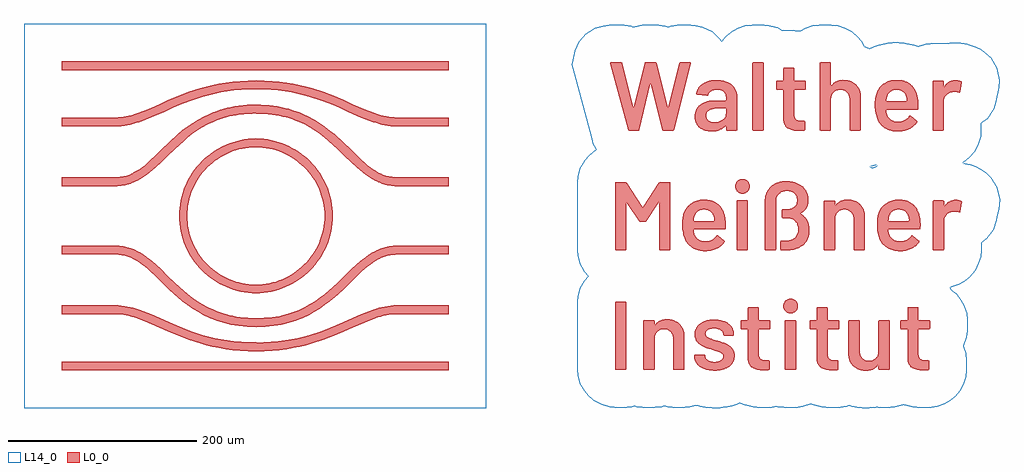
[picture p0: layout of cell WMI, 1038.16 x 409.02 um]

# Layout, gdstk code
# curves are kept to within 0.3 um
import gdstk
lib = gdstk.Library(unit=1e-6, precision=1e-09)
def R(c, l, rs):  # rectangles x0, y0, x1, y1
    for r in rs: c.add(gdstk.rectangle(r[:2], r[2:], *l))
def P(c, l, *ps):  # polygons
    for p in ps: c.add(gdstk.Polygon(p, *l))
L0_0 = (0, 0)
L14_0 = (14, 0)

wmi = lib.new_cell('WMI')
R(wmi, L0_0, [(-455.126,-155.787,-43.506,-146.447), (-455.126,163.614,-43.506,172.954)])
P(wmi, L0_0, [(-248.146,-135.447),(-265.006,-134.827),(-280.486,-133.107),(-294.666,-130.467),(-307.686,-127.107),(-319.646,-123.227),(-330.706,-119.027),(-362.926,-104.887),(-374.786,-100.307),(-386.366,-97.167),(-397.966,-96.007),(-455.106,-96.007),(-455.106,-86.667),(-397.966,-86.667),(-385.046,-87.887),(-372.466,-91.207),(-359.826,-96.067),(-327.006,-110.467),(-304.846,-118.267),(-292.446,-121.447),(-278.966,-123.927),(-264.246,-125.547),(-248.146,-126.127),(-232.026,-125.547),(-217.326,-123.927),(-203.846,-121.447),(-191.446,-118.267),(-169.286,-110.467),(-136.466,-96.067),(-123.826,-91.207),(-111.246,-87.887),(-98.326,-86.667),(-43.506,-86.667),(-43.506,-96.007),(-98.346,-96.007),(-109.946,-97.167),(-121.526,-100.307),(-133.366,-104.887),(-165.606,-119.027),(-176.646,-123.227),(-188.626,-127.107),(-201.646,-130.467),(-215.826,-133.107),(-231.286,-134.827)],
  [(-248.146,-109.647),(-257.626,-109.347),(-266.566,-108.467),(-282.846,-105.147),(-297.266,-100.087),(-310.006,-93.627),(-321.326,-86.187),(-331.466,-78.107),(-366.406,-45.467),(-375.146,-39.227),(-381.226,-36.047),(-389.266,-33.387),(-396.166,-32.467),(-455.106,-32.447),(-455.106,-23.127),(-395.806,-23.167),(-387.606,-24.187),(-379.986,-26.467),(-371.146,-30.767),(-361.246,-37.647),(-354.926,-43.027),(-325.466,-70.947),(-315.906,-78.587),(-305.346,-85.567),(-293.546,-91.527),(-280.226,-96.187),(-265.186,-99.207),(-248.146,-100.307),(-231.106,-99.227),(-216.046,-96.207),(-202.746,-91.547),(-190.946,-85.587),(-180.386,-78.607),(-170.826,-70.967),(-141.366,-43.047),(-135.046,-37.667),(-125.146,-30.787),(-116.306,-26.467),(-108.686,-24.207),(-100.486,-23.187),(-43.506,-23.147),(-43.506,-32.487),(-100.146,-32.527),(-107.046,-33.427),(-113.506,-35.427),(-121.146,-39.267),(-129.906,-45.507),(-164.826,-78.127),(-174.966,-86.187),(-186.286,-93.627),(-199.046,-100.087),(-213.446,-105.147),(-229.726,-108.467),(-238.646,-109.347)],
  [(-248.406,-73.767),(-256.726,-73.287),(-264.806,-71.967),(-272.626,-69.887),(-280.126,-67.067),(-287.266,-63.567),(-294.006,-59.407),(-300.306,-54.647),(-306.106,-49.327),(-311.406,-43.467),(-316.126,-37.127),(-320.226,-30.367),(-323.686,-23.187),(-326.426,-15.667),(-328.466,-7.847),(-329.706,0.254),(-330.126,8.594),(-329.706,16.914),(-328.466,24.994),(-326.446,32.834),(-323.686,40.354),(-320.226,47.514),(-316.126,54.274),(-311.426,60.614),(-303.306,69.194),(-294.046,76.554),(-285.626,81.594),(-248.486,81.594),(-255.906,81.214),(-266.646,79.274),(-273.486,77.114),(-283.186,72.714),(-289.206,69.034),(-297.486,62.514),(-302.466,57.534),(-308.986,49.254),(-312.666,43.234),(-317.066,33.534),(-320.026,23.174),(-321.146,15.954),(-321.526,8.514),(-320.686,-2.547),(-318.226,-13.107),(-315.746,-19.807),(-310.886,-29.247),(-306.926,-35.087),(-300.026,-43.047),(-294.826,-47.767),(-289.186,-52.007),(-280.026,-57.287),(-270.086,-61.247),(-263.106,-63.047),(-255.886,-64.167),(-244.726,-64.447),(-237.406,-63.707),(-226.826,-61.247),(-220.126,-58.767),(-210.686,-53.907),(-204.866,-49.947),(-196.906,-43.047),(-189.986,-35.087),(-184.266,-26.187),(-179.866,-16.487),(-176.886,-6.127),(-175.766,1.094),(-175.486,12.254),(-176.886,23.174),(-179.846,33.534),(-182.646,40.074),(-186.026,46.294),(-189.986,52.114),(-194.466,57.534),(-199.426,62.514),(-204.846,66.994),(-210.686,70.934),(-216.886,74.334),(-223.426,77.114),(-230.286,79.274),(-241.026,81.214),(-248.446,81.594),(-285.626,81.594),(-276.466,85.714),(-268.806,88.174),(-256.786,90.434),(-248.466,90.934),(-240.106,90.434),(-232.026,89.134),(-224.206,87.054),(-216.706,84.234),(-209.566,80.734),(-202.826,76.574),(-196.546,71.794),(-190.726,66.474),(-185.446,60.614),(-180.726,54.294),(-176.626,47.514),(-173.166,40.354),(-170.406,32.834),(-168.386,25.014),(-167.146,16.914),(-166.726,8.574),(-167.146,0.254),(-168.386,-7.847),(-170.406,-15.667),(-173.166,-23.187),(-176.626,-30.347),(-180.726,-37.107),(-185.426,-43.447),(-190.706,-49.307),(-196.526,-54.627),(-202.806,-59.387),(-209.546,-63.547),(-216.686,-67.067),(-224.166,-69.887),(-231.986,-71.967),(-240.066,-73.267)],
  [(-455.106,40.294),(-455.106,49.634),(-396.166,49.674),(-389.266,50.574),(-381.226,53.234),(-375.166,56.414),(-366.406,62.654),(-331.466,95.294),(-321.326,103.374),(-310.006,110.814),(-297.266,117.274),(-282.846,122.334),(-266.566,125.654),(-252.966,126.774),(-238.666,126.494),(-229.746,125.614),(-221.346,124.194),(-206.026,119.954),(-192.466,114.154),(-180.466,107.154),(-169.766,99.334),(-155.666,86.894),(-135.626,67.554),(-127.026,60.374),(-118.146,54.674),(-111.926,51.934),(-105.346,50.194),(-100.146,49.614),(-43.506,49.574),(-43.506,40.294),(-100.506,40.334),(-106.706,40.974),(-114.466,42.954),(-121.706,46.034),(-131.826,52.334),(-141.386,60.194),(-162.046,80.094),(-175.506,92.014),(-185.526,99.354),(-196.686,105.854),(-209.206,111.214),(-223.366,115.094),(-239.366,117.194),(-252.606,117.434),(-265.186,116.434),(-280.226,113.394),(-293.546,108.734),(-305.346,102.774),(-315.906,95.814),(-325.466,88.154),(-354.926,60.214),(-361.246,54.834),(-371.146,47.934),(-379.986,43.634),(-387.606,41.354),(-395.806,40.334)],
  [(-455.106,103.814),(-455.106,113.154),(-397.966,113.154),(-386.366,114.334),(-374.786,117.474),(-362.946,122.054),(-330.706,136.174),(-307.686,144.274),(-294.666,147.634),(-280.486,150.274),(-256.766,152.454),(-239.526,152.454),(-223.366,151.254),(-208.566,149.054),(-194.986,146.034),(-176.646,140.394),(-165.586,136.174),(-133.346,122.054),(-121.506,117.474),(-109.926,114.334),(-98.326,113.174),(-43.506,113.174),(-43.506,103.814),(-98.346,103.814),(-108.086,104.534),(-114.426,105.714),(-123.826,108.374),(-136.486,113.214),(-169.306,127.634),(-179.986,131.714),(-197.526,137.094),(-210.446,139.954),(-224.526,142.014),(-239.906,143.134),(-256.386,143.134),(-278.966,141.094),(-292.446,138.614),(-304.846,135.414),(-316.306,131.714),(-327.006,127.634),(-359.826,113.234),(-372.486,108.374),(-385.046,105.054),(-391.446,104.134),(-397.966,103.814)],
  [(352.474,99.314),(351.594,99.694),(351.214,100.574),(351.214,170.574),(352.214,171.794),(362.254,171.794),(363.234,170.594),(363.454,147.274),(366.374,150.034),(370.334,152.194),(374.754,153.094),(380.274,152.874),(384.674,151.614),(388.614,149.314),(391.794,145.934),(393.594,142.694),(394.694,139.174),(395.074,135.474),(395.014,100.314),(393.794,99.314),(384.254,99.314),(383.114,100.074),(382.714,135.174),(380.994,138.934),(378.814,141.074),(375.194,142.594),(372.174,142.714),(369.274,142.054),(366.714,140.514),(364.734,138.134),(363.554,135.274),(363.154,100.094),(361.994,99.314)],
  [(280.914,99.314),(280.034,99.694),(279.674,100.574),(279.674,170.594),(280.654,171.794),(290.694,171.794),(291.694,170.574),(291.674,100.314),(290.694,99.334)],
  [(148.714,99.274),(147.594,100.114),(128.554,170.894),(128.834,171.594),(140.094,171.814),(141.214,171.014),(153.414,123.254),(165.074,171.014),(166.114,171.814),(177.214,171.574),(177.734,170.794),(190.094,123.114),(202.094,170.994),(203.214,171.794),(213.934,171.614),(214.234,170.454),(195.974,99.694),(195.114,99.274),(184.974,99.274),(183.854,100.094),(171.254,150.094),(159.374,100.114),(158.094,99.274)],
  [(327.454,99.054),(322.734,99.594),(318.234,101.154),(315.754,102.954),(313.734,106.014),(312.634,110.254),(312.654,142.234),(306.014,142.534),(305.054,143.534),(305.054,151.034),(305.414,151.894),(312.694,152.534),(312.734,164.874),(313.714,166.094),(322.974,166.114),(323.994,165.574),(324.334,152.374),(335.574,152.214),(336.534,151.254),(336.574,143.774),(335.994,142.714),(324.634,142.514),(324.174,142.054),(324.154,116.254),(324.734,113.294),(325.894,111.314),(327.754,110.154),(329.854,109.574),(334.694,109.534),(335.674,108.314),(335.474,99.774),(334.694,99.234)],
  [(432.494,98.374),(427.174,99.194),(422.154,101.114),(417.934,104.034),(414.654,107.754),(412.354,112.174),(410.734,117.874),(409.994,123.754),(409.954,128.954),(410.894,136.254),(413.434,142.734),(432.034,142.734),(427.954,141.674),(424.754,139.074),(422.934,135.454),(422.274,130.414),(443.934,130.494),(443.454,134.834),(442.134,138.074),(439.774,140.654),(437.374,141.974),(433.814,142.734),(413.434,142.734),(417.634,147.794),(422.194,150.774),(427.374,152.574),(434.114,153.074),(438.794,152.574),(443.874,151.014),(448.074,148.394),(451.394,144.754),(453.434,141.094),(455.214,135.574),(456.174,128.854),(456.174,122.554),(455.854,121.794),(455.074,121.474),(422.114,121.354),(422.534,117.414),(424.234,113.654),(426.854,110.914),(430.234,109.174),(434.034,108.654),(439.894,109.534),(443.434,111.514),(446.414,114.794),(447.454,115.154),(454.814,109.154),(454.714,107.894),(451.954,104.734),(446.174,100.854),(440.374,98.954)],
  [(237.314,98.434),(232.874,98.634),(227.954,99.914),(223.494,102.414),(221.714,104.174),(219.574,107.654),(218.514,111.614),(218.574,116.814),(219.434,120.274),(220.774,122.954),(251.134,122.954),(241.254,122.954),(237.914,122.534),(233.734,120.874),(232.374,119.754),(230.994,117.554),(230.554,114.974),(231.134,112.094),(232.434,110.314),(234.434,109.014),(236.794,108.214),(240.434,108.034),(243.854,108.654),(247.014,110.054),(249.514,112.034),(251.074,114.594),(251.614,117.554),(251.334,122.914),(220.774,122.954),(222.774,125.474),(224.994,127.294),(228.714,129.254),(232.674,130.574),(237.874,131.234),(251.334,131.234),(251.614,135.094),(251.094,137.614),(249.814,139.834),(248.454,141.054),(245.874,142.274),(243.054,142.734),(238.814,142.434),(235.734,141.314),(233.794,139.694),(232.474,136.894),(231.754,136.374),(221.174,137.634),(220.034,138.294),(220.154,139.474),(221.454,143.234),(223.194,145.894),(225.474,148.114),(228.514,150.034),(235.894,152.634),(239.794,153.074),(246.194,152.814),(251.894,151.354),(256.554,148.954),(260.934,144.534),(262.974,140.214),(263.634,135.474),(263.634,100.534),(262.634,99.334),(252.374,99.394),(251.654,100.294),(251.414,104.234),(245.194,100.054),(241.354,98.814)],
  [(472.514,99.314),(471.634,99.694),(471.274,100.574),(471.374,151.494),(472.514,152.254),(482.514,152.154),(483.274,151.254),(483.514,145.874),(486.734,149.614),(491.414,152.214),(494.074,152.794),(497.434,152.814),(501.734,151.514),(502.394,150.194),(500.334,139.954),(494.474,140.434),(489.514,139.514),(486.174,137.294),(483.954,133.894),(483.294,130.914),(483.074,99.874),(482.034,99.314)],
  [(268.394,32.194),(265.614,32.974),(263.274,34.834),(261.714,37.594),(261.394,40.734),(262.294,43.634),(264.194,45.934),(266.814,47.354),(269.914,47.674),(272.814,46.774),(275.094,44.874),(276.534,42.254),(276.834,39.154),(275.934,36.254),(274.054,33.974),(271.414,32.534)],
  [(316.474,-28.047),(310.514,-27.987),(309.734,-27.447),(309.734,-18.287),(310.774,-17.747),(318.734,-17.607),(323.134,-15.987),(325.014,-14.567),(326.514,-12.647),(327.934,-9.327),(328.294,-6.927),(327.614,-1.087),(325.974,2.034),(324.414,3.694),(320.554,5.714),(312.054,6.134),(311.094,7.114),(311.074,14.374),(311.434,15.254),(312.314,15.614),(319.094,15.714),(321.934,16.594),(325.094,18.954),(326.174,20.534),(327.094,23.214),(326.894,28.054),(325.134,31.534),(321.794,34.094),(317.634,35.094),(313.194,34.734),(309.114,32.874),(306.734,30.494),(305.034,26.434),(304.754,-27.247),(303.614,-28.007),(294.094,-27.907),(293.194,-27.527),(292.834,-26.647),(292.814,24.194),(293.834,30.834),(296.794,36.834),(300.734,40.914),(306.794,44.074),(313.514,45.354),(319.234,45.254),(323.674,44.474),(327.894,42.934),(332.714,39.994),(335.554,37.034),(337.634,33.574),(338.654,30.714),(339.234,26.674),(339.114,22.354),(337.874,18.254),(334.794,13.914),(330.954,11.034),(334.214,8.654),(336.614,5.974),(339.374,-0.027),(340.154,-4.167),(340.254,-9.167),(338.794,-15.467),(335.314,-20.927),(330.634,-24.487),(323.794,-27.227)],
  [(134.774,-28.007),(133.914,-27.647),(133.554,-26.767),(133.754,43.954),(134.774,44.494),(144.314,44.494),(145.494,44.014),(163.054,17.894),(180.514,44.034),(181.714,44.494),(191.934,44.294),(192.474,43.254),(192.274,-27.447),(191.234,-28.007),(181.694,-28.007),(180.494,-27.007),(180.314,22.994),(179.894,22.994),(166.894,2.974),(165.434,2.154),(160.674,2.154),(159.494,2.614),(145.934,22.994),(145.554,22.554),(145.534,-27.007),(144.554,-27.987)],
  [(356.834,-28.007),(355.954,-27.627),(355.594,-26.747),(355.814,24.374),(356.834,24.914),(366.854,24.814),(367.594,23.914),(367.914,19.914),(372.254,23.694),(374.694,24.854),(378.234,25.674),(382.834,25.734),(386.454,25.174),(392.234,22.534),(394.394,20.774),(396.674,17.834),(398.294,14.514),(399.234,10.934),(399.194,-27.467),(398.174,-28.007),(388.634,-28.007),(387.494,-27.247),(387.094,7.854),(385.354,11.614),(383.194,13.754),(380.534,15.034),(376.554,15.394),(373.654,14.734),(371.094,13.194),(369.114,10.814),(367.934,7.954),(367.514,-27.227),(366.374,-28.007)],
  [(229.454,-28.927),(224.074,-28.507),(218.934,-26.947),(215.734,-25.307),(211.894,-22.127),(209.794,-19.567),(207.494,-15.147),(205.894,-9.447),(205.134,-3.567),(205.134,2.854),(205.754,7.734),(206.874,11.814),(208.594,15.414),(227.154,15.414),(223.114,14.354),(219.914,11.754),(218.074,8.154),(217.394,3.094),(239.094,3.194),(238.834,6.554),(237.694,9.994),(235.574,12.774),(232.494,14.654),(228.934,15.414),(208.594,15.414),(211.494,19.254),(215.714,22.574),(220.734,24.794),(226.134,25.734),(231.654,25.574),(236.074,24.754),(240.794,22.774),(243.954,20.434),(246.534,17.434),(248.994,12.754),(250.354,8.234),(251.314,1.534),(251.294,-4.967),(250.434,-5.827),(217.234,-5.967),(217.674,-9.887),(219.354,-13.647),(221.254,-15.807),(224.474,-17.807),(228.194,-18.647),(234.254,-18.027),(237.894,-16.267),(241.534,-12.507),(242.394,-12.147),(249.954,-18.147),(249.854,-19.407),(248.094,-21.567),(242.574,-25.827),(236.994,-27.987)],
  [(434.774,-28.927),(429.454,-28.107),(424.434,-26.187),(420.214,-23.287),(416.954,-19.567),(414.634,-15.147),(413.034,-9.447),(412.274,-3.567),(412.234,1.614),(413.174,8.934),(415.734,15.414),(434.274,15.414),(430.214,14.354),(427.014,11.774),(425.194,8.154),(424.514,3.094),(446.194,3.194),(445.934,6.554),(444.814,10.014),(442.694,12.774),(439.594,14.654),(436.054,15.414),(415.734,15.414),(419.914,20.454),(424.474,23.454),(429.654,25.254),(436.394,25.734),(442.174,25.014),(446.154,23.674),(450.354,21.074),(453.694,17.434),(455.734,13.754),(457.494,8.234),(458.454,1.534),(458.454,-4.747),(458.114,-5.527),(457.334,-5.847),(424.374,-5.967),(424.514,-8.727),(425.974,-12.827),(428.374,-15.807),(431.594,-17.807),(435.314,-18.647),(441.374,-18.027),(445.034,-16.267),(448.674,-12.507),(449.534,-12.147),(457.094,-18.147),(456.994,-19.407),(454.234,-22.567),(448.454,-26.447),(442.654,-28.347)],
  [(472.734,-27.987),(471.854,-27.627),(471.494,-26.747),(471.694,24.394),(472.734,24.934),(482.734,24.834),(483.474,23.934),(483.654,18.554),(487.654,22.854),(491.634,24.894),(494.294,25.474),(497.654,25.494),(501.934,24.214),(502.614,22.874),(500.554,12.654),(494.674,13.114),(489.734,12.194),(486.394,9.974),(484.174,6.574),(483.514,3.594),(483.294,-27.447),(482.254,-27.987)],
  [(264.134,-28.007),(263.254,-27.647),(262.894,-26.767),(262.934,24.054),(263.874,25.014),(273.914,25.014),(274.914,23.794),(274.894,-27.007),(273.914,-27.987)],
  [(320.294,-95.147),(317.434,-94.647),(314.994,-93.067),(313.154,-90.467),(312.514,-87.367),(313.134,-84.347),(314.794,-81.887),(317.274,-80.207),(320.274,-79.587),(323.294,-80.207),(325.774,-81.887),(327.434,-84.347),(328.054,-87.367),(327.434,-90.367),(325.774,-92.847),(323.294,-94.527)],
  [(134.794,-155.307),(133.914,-154.947),(133.554,-154.067),(133.574,-83.787),(134.534,-82.827),(144.554,-82.827),(145.554,-84.067),(145.534,-154.327),(144.554,-155.287)],
  [(459.514,-155.547),(454.794,-155.007),(450.294,-153.447),(448.334,-152.187),(446.114,-149.247),(445.054,-146.527),(444.654,-143.607),(444.694,-112.387),(438.114,-112.087),(437.154,-111.107),(437.334,-102.927),(438.114,-102.407),(444.774,-102.107),(444.794,-89.727),(445.794,-88.507),(455.054,-88.487),(456.094,-89.047),(456.414,-102.247),(467.654,-102.407),(468.634,-103.367),(468.654,-110.867),(468.034,-111.907),(456.254,-112.387),(456.194,-138.367),(456.534,-140.627),(457.934,-143.307),(459.794,-144.487),(461.894,-145.047),(466.754,-145.087),(467.734,-146.307),(467.734,-154.127),(467.374,-155.007),(466.474,-155.407)],
  [(362.874,-155.547),(358.154,-155.007),(353.674,-153.447),(351.174,-151.647),(349.154,-148.587),(348.034,-143.607),(348.074,-112.387),(341.454,-112.087),(340.494,-111.127),(340.674,-102.927),(341.454,-102.407),(348.114,-102.107),(348.134,-89.727),(349.134,-88.507),(358.374,-88.487),(359.414,-89.027),(359.894,-102.347),(370.994,-102.407),(371.954,-103.367),(371.974,-110.867),(371.414,-111.907),(360.054,-112.107),(359.594,-112.567),(359.574,-138.367),(359.914,-140.627),(361.314,-143.307),(363.174,-144.487),(365.274,-145.047),(370.114,-145.087),(371.114,-146.307),(371.114,-154.127),(370.734,-155.007),(369.854,-155.407)],
  [(289.654,-155.547),(284.934,-155.007),(280.454,-153.447),(277.954,-151.647),(275.934,-148.587),(274.814,-143.607),(274.854,-112.387),(268.194,-112.087),(267.234,-111.107),(267.414,-102.927),(268.194,-102.407),(274.854,-102.107),(274.894,-89.727),(275.874,-88.507),(285.134,-88.487),(286.174,-89.047),(286.494,-102.247),(297.754,-102.407),(298.714,-103.367),(298.734,-110.867),(298.194,-111.907),(286.834,-112.107),(286.374,-112.567),(286.674,-140.627),(288.094,-143.307),(289.954,-144.487),(292.054,-145.047),(296.894,-145.087),(297.874,-146.307),(297.874,-154.127),(297.514,-155.007),(296.634,-155.407)],
  [(164.834,-155.307),(163.954,-154.947),(163.574,-154.067),(163.794,-102.947),(164.834,-102.387),(174.834,-102.487),(175.574,-103.387),(175.894,-107.387),(180.234,-103.607),(182.694,-102.447),(186.214,-101.607),(190.814,-101.567),(194.434,-102.127),(200.214,-104.787),(202.374,-106.527),(204.654,-109.487),(206.274,-112.787),(207.214,-116.367),(207.174,-154.767),(206.154,-155.307),(196.634,-155.307),(195.474,-154.547),(195.074,-119.467),(193.914,-116.567),(191.974,-114.167),(189.434,-112.607),(185.554,-111.907),(181.634,-112.587),(179.074,-114.127),(177.094,-116.487),(175.914,-119.367),(175.394,-154.767),(174.354,-155.307)],
  [(240.514,-155.947),(232.254,-155.227),(228.054,-154.007),(224.874,-152.507),(222.054,-150.407),(219.814,-147.907),(218.434,-145.207),(217.794,-142.227),(217.834,-139.787),(218.734,-139.047),(228.354,-139.047),(229.254,-139.787),(230.174,-143.107),(231.594,-144.607),(234.754,-146.207),(238.454,-146.907),(242.034,-146.727),(244.554,-145.987),(247.194,-144.407),(248.294,-142.807),(248.594,-139.807),(247.074,-137.607),(243.234,-135.867),(231.254,-132.067),(225.994,-129.767),(221.394,-126.147),(218.834,-121.707),(218.274,-118.647),(218.594,-114.227),(219.694,-111.107),(221.494,-108.327),(223.974,-106.047),(227.414,-104.047),(231.134,-102.647),(235.014,-101.867),(244.634,-102.187),(248.734,-103.267),(252.194,-104.767),(255.034,-106.787),(257.434,-109.347),(259.014,-112.187),(259.994,-116.387),(259.934,-117.967),(259.034,-118.707),(249.714,-118.707),(248.934,-118.187),(248.294,-115.487),(246.654,-113.367),(243.514,-111.787),(239.834,-111.147),(236.334,-111.307),(233.874,-111.967),(231.254,-113.407),(230.154,-114.967),(229.934,-118.047),(231.674,-120.367),(236.194,-122.267),(247.274,-125.647),(253.614,-128.387),(258.154,-132.227),(260.454,-136.987),(260.754,-141.027),(260.234,-144.367),(258.914,-147.427),(256.274,-150.667),(253.174,-152.767),(249.474,-154.447),(245.574,-155.507)],
  [(315.294,-155.327),(314.074,-154.327),(314.094,-103.267),(315.294,-102.267),(325.094,-102.307),(326.074,-103.507),(326.054,-154.327),(324.834,-155.327)],
  [(401.334,-156.067),(395.094,-155.487),(389.374,-153.067),(385.334,-149.487),(382.734,-144.787),(381.834,-139.467),(381.954,-103.127),(383.094,-102.367),(392.634,-102.367),(393.774,-103.127),(394.134,-138.227),(395.774,-142.027),(397.914,-144.187),(400.554,-145.447),(404.554,-145.767),(407.534,-145.107),(410.194,-143.567),(412.234,-141.167),(413.454,-138.267),(413.874,-103.147),(415.054,-102.387),(424.954,-102.487),(425.714,-103.627),(425.634,-154.547),(424.474,-155.307),(414.554,-155.227),(413.814,-154.327),(413.474,-150.307),(410.554,-153.047),(407.474,-154.847),(404.914,-155.687)])
R(wmi, L14_0, [(-495.13,-195.79,-3.51,212.95)])
P(wmi, L14_0, [(401.334,-196.067),(391.014,-195.407),(382.414,-193.467),(380.094,-194.307),(373.274,-195.347),(358.274,-195.407),(349.274,-194.027),(341.814,-191.787),(340.354,-192.587),(333.434,-194.467),(327.894,-195.327),(313.634,-195.327),(305.734,-194.487),(300.054,-195.347),(285.054,-195.407),(276.114,-194.047),(266.174,-190.847),(258.034,-193.667),(252.934,-194.867),(242.714,-195.907),(230.214,-195.427),(219.374,-193.227),(213.274,-194.887),(207.694,-195.307),(195.094,-195.307),(189.514,-194.887),(185.654,-193.827),(183.134,-194.747),(175.894,-195.307),(163.294,-195.307),(156.594,-194.787),(154.394,-194.067),(151.114,-194.887),(145.974,-195.307),(133.254,-195.307),(127.674,-194.887),(119.274,-192.587),(110.934,-188.027),(104.794,-182.587),(100.834,-177.627),(96.274,-170.027),(93.974,-160.867),(93.554,-155.727),(93.554,-82.507),(93.974,-76.927),(96.274,-68.527),(100.834,-60.187),(105.074,-55.407),(100.834,-50.627),(96.274,-42.287),(93.974,-33.887),(93.554,-28.307),(93.554,44.934),(93.974,50.074),(96.274,59.234),(98.334,62.654),(410.414,62.654),(405.134,60.914),(407.654,59.754),(412.594,61.834),(410.414,62.654),(98.334,62.654),(101.374,67.734),(105.574,72.474),(111.474,77.714),(113.674,78.794),(110.034,85.454),(87.434,169.234),(90.454,184.394),(95.134,193.754),(102.454,202.274),(112.354,208.454),(120.994,211.054),(127.294,211.814),(143.414,211.814),(152.374,209.954),(162.514,211.814),(179.854,211.814),(186.974,210.634),(189.894,209.574),(192.774,210.614),(199.894,211.794),(214.274,211.794),(218.834,211.534),(226.334,209.914),(237.074,205.034),(245.194,196.914),(247.014,194.174),(251.354,199.734),(258.554,205.494),(264.594,208.514),(272.134,211.254),(279.374,211.814),(297.254,211.394),(306.414,209.094),(311.494,206.034),(324.634,206.114),(330.334,205.614),(336.634,208.754),(344.114,211.254),(350.794,211.814),(363.674,211.814),(370.354,211.254),(377.834,208.754),(385.314,205.034),(391.214,199.794),(396.454,193.894),(398.874,189.014),(404.274,186.554),(413.974,190.434),(423.714,192.554),(428.854,193.054),(435.414,193.054),(443.254,192.374),(451.814,190.594),(456.254,189.114),(464.114,191.414),(469.194,192.254),(486.194,192.054),(493.274,192.834),(501.174,192.674),(510.834,190.814),(517.454,188.374),(521.854,186.174),(526.414,183.134),(533.474,176.854),(539.974,165.634),(542.814,153.094),(542.074,144.794),(539.174,129.834),(536.714,122.394),(529.814,112.074),(523.274,107.174),(523.274,93.274),(519.754,83.594),(515.994,76.714),(511.254,71.354),(505.894,66.614),(503.154,65.114),(511.214,63.454),(522.074,58.954),(527.914,54.854),(533.754,49.014),(540.014,39.094),(543.034,25.774),(542.134,15.754),(539.834,3.834),(536.574,-5.987),(529.134,-15.927),(523.494,-20.147),(523.494,-28.407),(522.934,-35.087),(520.674,-41.867),(517.214,-49.507),(510.594,-56.947),(504.954,-61.327),(499.234,-64.447),(490.034,-67.507),(491.214,-69.867),(496.974,-74.467),(501.994,-80.927),(505.114,-86.647),(508.094,-94.847),(508.654,-102.087),(508.654,-113.927),(507.634,-120.567),(504.394,-129.887),(507.174,-137.527),(507.734,-144.767),(507.734,-155.787),(507.174,-162.467),(504.454,-170.627),(501.074,-176.827),(496.054,-183.287),(490.054,-188.087),(483.794,-191.847),(476.174,-194.387),(469.894,-195.347),(454.894,-195.407),(445.934,-194.027),(440.254,-192.447),(431.274,-194.887),(426.134,-195.307),(411.474,-195.147)])
wmi.add(gdstk.FlexPath([(468.234,-111.747),(468.234,-111.747)], 0, ends="flush", simple_path=True, layer=0, datatype=0))  # L0_0
wmi.add(gdstk.FlexPath([(371.594,-111.747),(371.594,-111.747)], 0, ends="flush", simple_path=True, layer=0, datatype=0))  # L0_0
wmi.add(gdstk.FlexPath([(314.074,-103.527),(314.074,-103.527)], 0, ends="flush", simple_path=True, layer=0, datatype=0))  # L0_0
wmi.add(gdstk.FlexPath([(314.994,-93.067),(314.994,-93.067)], 0, ends="flush", simple_path=True, layer=0, datatype=0))  # L0_0
wmi.add(gdstk.FlexPath([(202.374,-106.527),(202.374,-106.527)], 0, ends="flush", simple_path=True, layer=0, datatype=0))  # L0_0
wmi.add(gdstk.FlexPath([(174.354,-155.307),(174.354,-155.307)], 0, ends="flush", simple_path=True, layer=0, datatype=0))  # L0_0
wmi.add(gdstk.FlexPath([(501.934,24.214),(501.934,24.214)], 0, ends="flush", simple_path=True, layer=0, datatype=0))  # L0_0
wmi.add(gdstk.FlexPath([(428.754,13.494),(428.754,13.494)], 0, ends="flush", simple_path=True, layer=0, datatype=0))  # L0_0
wmi.add(gdstk.FlexPath([(458.534,-1.387),(458.534,-1.387)], 0, ends="flush", simple_path=True, layer=0, datatype=0))  # L0_0
wmi.add(gdstk.FlexPath([(394.394,20.774),(394.394,20.774)], 0, ends="flush", simple_path=True, layer=0, datatype=0))  # L0_0
wmi.add(gdstk.FlexPath([(398.174,-28.007),(398.174,-28.007)], 0, ends="flush", simple_path=True, layer=0, datatype=0))  # L0_0
wmi.add(gdstk.FlexPath([(263.254,-27.647),(263.254,-27.647)], 0, ends="flush", simple_path=True, layer=0, datatype=0))  # L0_0
wmi.add(gdstk.FlexPath([(221.654,13.474),(221.654,13.474)], 0, ends="flush", simple_path=True, layer=0, datatype=0))  # L0_0
wmi.add(gdstk.FlexPath([(501.734,151.514),(501.734,151.514)], 0, ends="flush", simple_path=True, layer=0, datatype=0))  # L0_0
wmi.add(gdstk.FlexPath([(336.174,142.874),(336.174,142.874)], 0, ends="flush", simple_path=True, layer=0, datatype=0))  # L0_0
wmi.add(gdstk.FlexPath([(253.274,150.794),(253.274,150.794)], 0, ends="flush", simple_path=True, layer=0, datatype=0))  # L0_0
wmi.add(gdstk.FlexPath([(262.394,99.314),(262.394,99.314)], 0, ends="flush", simple_path=True, layer=0, datatype=0))  # L0_0

lib.write_gds('WMI.gds')
